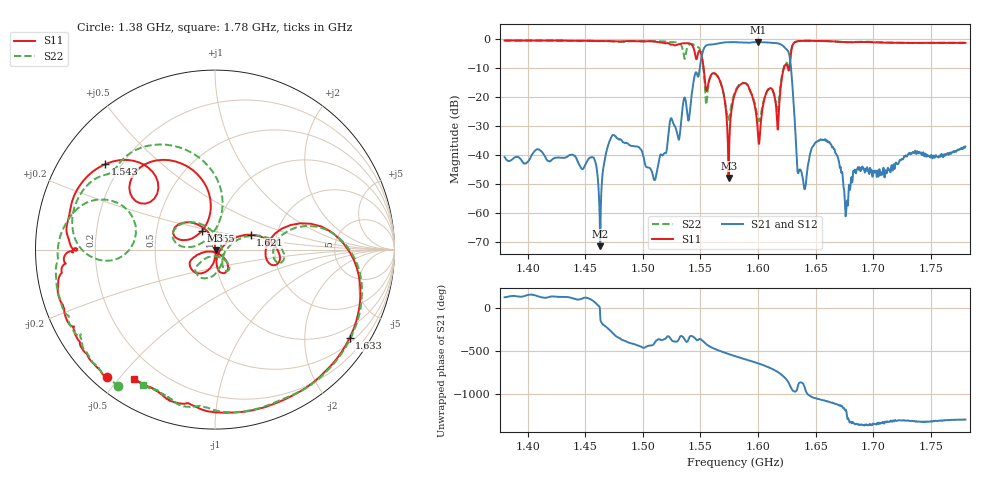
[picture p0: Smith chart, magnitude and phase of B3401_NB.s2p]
! Matrix data file written by TouchstoneData, EPCOS AG
! FILENAME: "B3401_NB.s2p"
! COMMENT: "NWA-Port1 : 82.0ps NWA-Port2 : 82.0ps PCB209"
! INFO: nport=2, nfreq=1601
! DATE: "Wed Jan 8 2014"
! USER: "Hiroshi Tanaka"
! port | pin | signal
!  1  |  1  |  in
!  2  |  3  |  out
# MHZ S MA R 50
! freq  magS11 angS11  magS21 angS21  magS12 angS12  magS22 angS22
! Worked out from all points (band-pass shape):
!   1601 points, 1.38 GHz to 1.78 GHz, reference 50 ohm
!   highest |S21| = -1.14 dB at 1.6 GHz (marker M1); lowest = -71.6 dB at 1.463 GHz (marker M2)
!   |S21| within 3 dB of the highest: 1.552 GHz to 1.626 GHz (73.51 MHz wide, 4.63 % of centre)
!   lowest |S11| = -48.0 dB at 1.575 GHz (marker M3), VSWR 1.01, Z = 50.3 - j0.219 ohm
!   |S11| at or under -10 dB: 1.553 GHz to 1.623 GHz (69.84 MHz wide, 4.4 % of centre); 1.625901 GHz to 1.627289 GHz (1.388 MHz wide, 0.0853 % of centre)
!   |S22| runs from -28.4 to -0.6 dB; largest |S21 - S12| = 0.0051
!   S11 on the Smith chart (normalised r, x): 1.38 GHz: 0.04, -0.46; 1.543 GHz: 0.14, +0.34; 1.555 GHz: 0.85, +0.18; 1.621 GHz: 1.47, +0.25; 1.633 GHz: 0.64, -3.24; 1.78 GHz: 0.11, -0.55
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1380  0.9342 -130.3  0.009076 119.1  0.009042 119.5  0.9337 -125.2
1446.75  0.9242 -141.9  0.005747 100.4  0.005733 100.7  0.9272 -137.0
1457.5  0.9161 -145.3  0.008719 70.7  0.008699 71.0  0.9195 -140.0
1463  0.9137 -146.4  0.0002628 -97.7  0.0002554 -97.0  0.9164 -141.5
1474  0.9046 -149.9  0.02186 64.6  0.02181 65.0  0.8983 -145.4
1513.5  0.8767 -170.5  0.00673 -4.8  0.006707 -4.5  0.9066 -164.3
1542.75  0.7742 142.0  0.1225 31.6  0.1221 31.8  0.8138 159.3
1555  0.1268 125.2  0.7661 -60.9  0.7635 -60.7  0.0726 124.6
1566.5  0.1968 130.5  0.8371 -136.7  0.8342 -136.5  0.1954 128.7
1574.5  0.003971 -33.2  0.8737 -175.1  0.8703 -174.9  0.03939 1.5
1580  0.1138 -106.7  0.8739 160.9  0.8705 161.1  0.1223 -83.7
1600  0.02222 -149.3  0.8765 78.9  0.8727 79.2  0.04209 -112.2
1613  0.126 -78.5  0.8486 9.2  0.845 9.4  0.1234 -65.1
1620.75  0.2144 22.7  0.7795 -57.2  0.7763 -56.9  0.2363 19.6
1627.75  0.3922 17.5  0.4516 -178.3  0.4498 -178.1  0.4228 14.5
1633.5  0.8969 -33.2  0.009446 126.2  0.009416 126.4  0.898 -31.1
1640.25  0.9218 -58.6  0.002529 172.2  0.002519 172.3  0.9234 -55.5
1646.75  0.9209 -71.7  0.01304 50.3  0.013 50.5  0.9142 -68.0
1664.5  0.9038 -91.6  0.01336 -15.2  0.01331 -15.0  0.9033 -87.7
1676.5  0.8738 -98.9  0.001076 -106.4  0.001077 -105.6  0.8782 -94.3
1713.5  0.8513 -112.2  0.00536 125.4  0.005351 125.6  0.8621 -107.7
1780  0.848 -122.0  0.01385 150.6  0.01383 151.0  0.8549 -118.1
